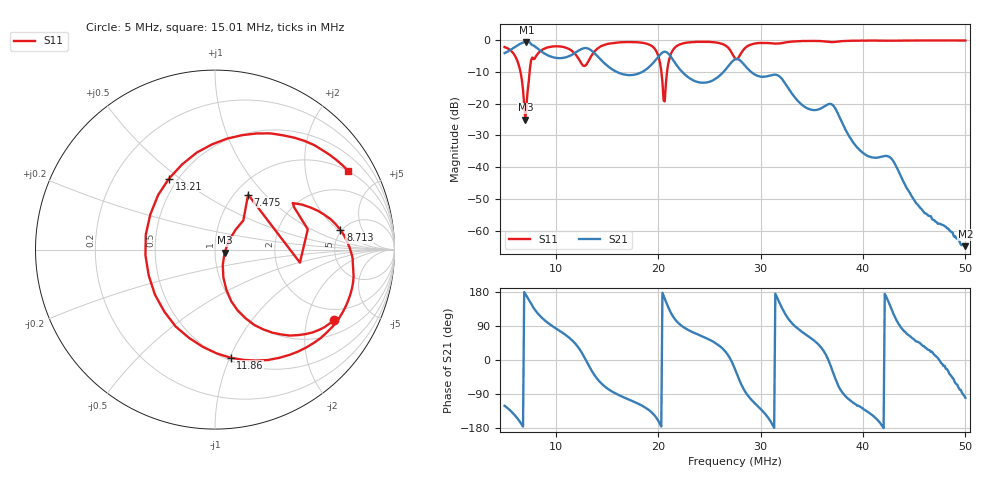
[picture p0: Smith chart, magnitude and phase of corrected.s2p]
! S11/S21 only; reverse parameters are placeholders. Device calibration unverified.
! [Saver CAL applied] C:\Users\aknya\MyProjects\rf-simulator\calibration2.cal | Ideal standards assumed | Input: NanoVNA F V2 profile | COM3 | 2026-09-08T11:28:04.9653839-04:00 | device calibration unverified
# HZ S RI R 50
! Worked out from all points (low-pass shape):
!   401 points, 5 MHz to 50 MHz, reference 50 ohm
!   highest |S21| = -0.63 dB at 7.138 MHz (marker M1); lowest = -64.8 dB at 50 MHz (marker M2)
!   |S21| within 3 dB of the highest: 5.306 MHz to 8.605 MHz (3.299 MHz wide, 47.4 % of centre); 12.1 MHz to 13.6 MHz (1.5 MHz wide, 11.7 % of centre)
!   lowest |S11| = -25.1 dB at 7.025 MHz (marker M3), VSWR 1.12, Z = 55.6 - j1.91 ohm
!   |S11| at or under -10 dB: 6.545 MHz to 7.445 MHz (899.2 kHz wide, 12.9 % of centre); 20.31 MHz to 20.86 MHz (552.3 kHz wide, 2.68 % of centre)
!   S12 and S22 are empty: the file has one direction only
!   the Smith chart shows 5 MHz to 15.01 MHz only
!   S11 on the Smith chart (normalised r, x): 5 MHz: 1.52, -2.95; 7.475 MHz: 1.15, +0.81; 8.713 MHz: 4.86, +2.13; 11.86 MHz: 0.53, -1.01; 13.21 MHz: 0.45, +0.46; 15.01 MHz: 0.98, +3.38
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5000000  0.6654 -0.3921  -0.3184 -0.5341  0 0  0 0
6237500  0.2178 -0.4196  -0.7315 -0.3617  0 0  0 0
7025000  0.0532 -0.0172  -0.924 0.0906  0 0  0 0
7137500  0.0776 0.0495  -0.9138 0.1724  0 0  0 0
7475000  0.1845 0.3064  -0.8204 0.4032  0 0  0 0
8712500  0.6988 0.1096  -0.2147 0.6026  0 0  0 0
1.04e7  0.6951 -0.3761  0.121 0.5028  0 0  0 0
1.18625e7  0.0865 -0.6025  0.4445 0.4364  0 0  0 0
1.25375e7  -0.3345 -0.2513  0.6837 0.238  0 0  0 0
1.32125e7  -0.2565 0.3956  0.704 -0.179  0 0  0 0
1.50125e7  0.7416 0.4402  0.1038 -0.3817  0 0  0 0
1.8275e7  0.8688 -0.2697  -0.1454 -0.268  0 0  0 0
2.0075e7  0.2546 -0.446  -0.5383 -0.1593  0 0  0 0
2.06375e7  0.103 0.033  -0.6233 0.1992  0 0  0 0
2.12e7  0.4966 0.2983  -0.3292 0.4465  0 0  0 0
2.345e7  0.9082 -0.1806  0.069 0.2194  0 0  0 0
2.75e7  0.4148 -0.3035  0.4517 -0.2018  0 0  0 0
3.11e7  0.7464 -0.4747  -0.2743 -0.0597  0 0  0 0
3.50375e7  0.6921 -0.6721  0.0454 0.0654  0 0  0 0
3.695e7  0.6008 -0.7045  0.0891 -0.039  0 0  0 0
4.2575e7  0.4353 -0.8703  -0.0123 0.00774  0 0  0 0
5e7  0.1575 -0.9673  -9.89e-05 -0.000566  0 0  0 0
